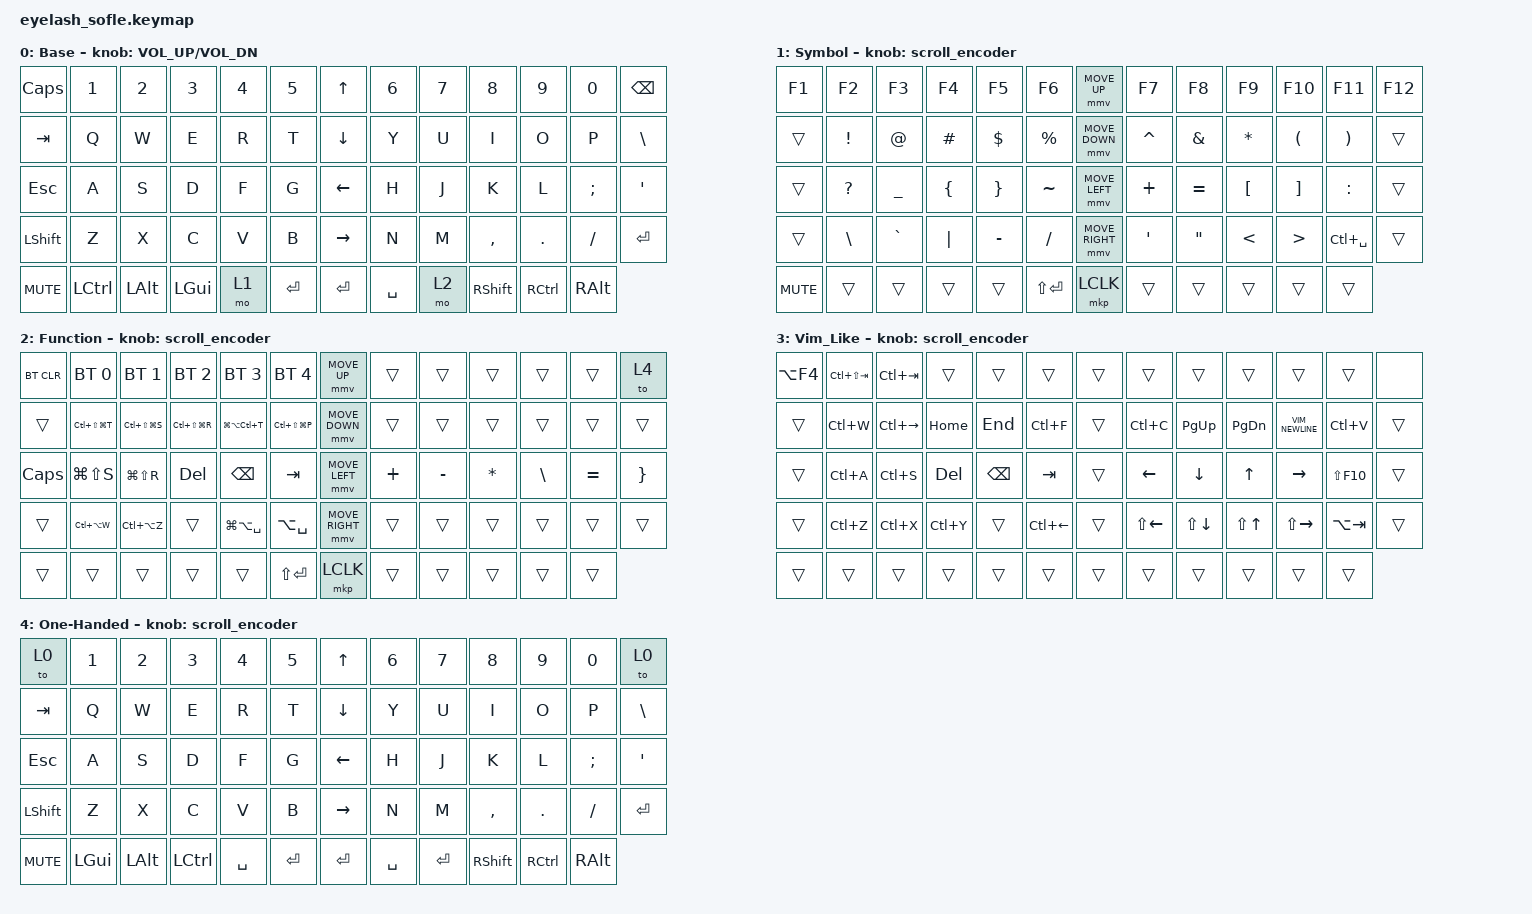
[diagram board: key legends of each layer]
#define ZMK_POINTING_DEFAULT_MOVE_VAL 1200  // 600
#define ZMK_POINTING_DEFAULT_SCRL_VAL 25   // 10

// 社交应用快捷键
#define QQ_SH     LG(LS(S))      // 截图
#define QQ_REC    LG(LS(R))      // 录屏
#define QQ_START  LC(LA(Z))      // 呼出 QQ
#define WX_START  LC(LA(W))      // 呼出微信

// PowerToys & 系统功能
#define PT_TOP    LG(LA(LC(T)))  // 窗口置顶
#define PT_OCR    LC(LS(LG(P)))  // 文本提取
#define PT_CROP   LC(LS(LG(R)))  // 裁剪窗口 (Crop and Lock)
#define PT_SNAP   LC(LS(LG(S)))  // 屏幕剪辑
#define PT_THUMB  LC(LS(LG(T)))  // 缩略图预览
#define PT_RUN    LA(SPACE)      // PowerToys Run
#define PT_CMD    LG(LA(SPACE))  // 命令面板

// 辅助功能
#define LANG_SW   LC(SPACE)      // 切换输入法

#include <input/processors.dtsi>
#include <zephyr/dt-bindings/input/input-event-codes.h>
#include <behaviors.dtsi>
#include <dt-bindings/zmk/bt.h>
#include <dt-bindings/zmk/keys.h>
#include <dt-bindings/zmk/outputs.h>
#include <dt-bindings/zmk/pointing.h>
#include <dt-bindings/zmk/rgb.h>

&mmv_input_listener { input-processors = <&zip_xy_scaler 2 1>; };

&msc_input_listener { input-processors = <&zip_scroll_scaler 2 1>; };

&msc {
    acceleration-exponent = <1>;      // 0
    time-to-max-speed-ms = <100>;       // 300
    delay-ms = <0>;                   // 0
};

&mmv {
    time-to-max-speed-ms = <500>;
    acceleration-exponent = <1>;
    trigger-period-ms = <16>;
};

&soft_off { hold-time-ms = <2000>; };

&kscan0 {
    wakeup-source;  // 关键：允许按键动作产生硬件中断来唤醒 MCU
};

/ {
    conditional_layers{
        compatible = "zmk,conditional-layers";
        tri_layer{
            if-layers = <1 2>;
            then-layer = <3>;
        };
    };

    scroll_encoder: scroll_encoder {
        compatible = "zmk,behavior-sensor-rotate";
        #sensor-binding-cells = <0>;
        bindings = <&msc SCRL_DOWN>, <&msc SCRL_UP>;

        tap-ms = <100>;
    };

    behaviors {
    };

    combos {
        compatible = "zmk,combos";

        softoff {
            bindings = <&soft_off>;
            key-positions = <14 28 40>;
        };
    };

    macros {
        SHIFT_MCLK: SHIFT_MCLK {
            compatible = "zmk,behavior-macro";
            #binding-cells = <0>;
            bindings =
                <&macro_press>,
                <&kp LEFT_SHIFT>,
                <&macro_press>,
                <&mkp MB3>,
                <&macro_pause_for_release>,
                <&macro_release>,
                <&kp LEFT_SHIFT &mkp MB3>;

            label = "SHIFT_MCLK";
        };

        VIM_NEWLINE: VIM_NEWLINE {
            compatible = "zmk,behavior-macro";
            #binding-cells = <0>;
            bindings =
                <&macro_tap>,
                <&kp END>,
                <&macro_wait_time 10>,
                <&kp LS(ENTER)>;

            label = "VIM_NEWLINE";
        };
    };

    keymap {
        compatible = "zmk,keymap";

        layer0 { // Base Layer
            bindings = <
&kp CAPS    &kp N1     &kp N2        &kp N3        &kp N4  &kp N5       &kp UP_ARROW     &kp N6     &kp N7     &kp N8       &kp N9         &kp N0      &kp BACKSPACE
&kp TAB     &kp Q      &kp W         &kp E         &kp R   &kp T        &kp DOWN_ARROW   &kp Y      &kp U      &kp I        &kp O          &kp P       &kp BSLH
&kp ESC     &kp A      &kp S         &kp D         &kp F   &kp G        &kp LEFT_ARROW   &kp H      &kp J      &kp K        &kp L          &kp SEMI    &kp APOS
&kp LSHFT   &kp Z      &kp X         &kp C         &kp V   &kp B        &kp RIGHT_ARROW  &kp N      &kp M      &kp COMMA    &kp DOT        &kp FSLH    &kp ENTER
&kp C_MUTE  &kp LCTRL   &kp LALT      &kp LGUI     &mo 1   &kp ENTER    &kp ENTER        &kp SPACE  &mo 2      &kp RSHIFT   &kp RCTRL      &kp RALT
            >;

            sensor-bindings = <&inc_dec_kp C_VOLUME_UP C_VOL_DN>;
            display-name = "Base";
        };

        layer_1 { // Symbol Layer
            bindings = <
&kp F1      &kp F2           &kp F3          &kp F4           &kp F5           &kp F6             &mmv MOVE_UP     &kp F7           &kp F8           &kp F9       &kp F10    &kp F11           &kp F12
&trans      &kp EXCL         &kp AT          &kp HASH         &kp DOLLAR       &kp PERCENT        &mmv MOVE_DOWN   &kp CARET        &kp AMPERSAND    &kp ASTERISK &kp LPAR   &kp RPAR          &trans
&trans      &kp QUESTION     &kp UNDER       &kp LBRC         &kp RBRC         &kp TILDE          &mmv MOVE_LEFT   &kp PLUS         &kp EQUAL        &kp LBKT     &kp RBKT   &kp COLON         &trans
&trans      &kp BACKSLASH    &kp GRAVE       &kp PIPE         &kp MINUS        &kp SLASH          &mmv MOVE_RIGHT  &kp SQT          &kp DQT          &kp LT       &kp GT     &kp LANG_SW       &trans
&kp C_MUTE  &trans           &trans          &trans           &trans           &kp LS(ENTER)      &mkp LCLK        &trans           &trans           &trans       &trans     &trans
            >;

            display-name = "Symbol";
            sensor-bindings = <&scroll_encoder>;
        };

        layer_2 { // Function Layer
            bindings = <
&bt BT_CLR &bt BT_SEL 0  &bt BT_SEL 1  &bt BT_SEL 2 &bt BT_SEL 3  &bt BT_SEL 4   &mmv MOVE_UP     &trans    &trans     &trans    &trans  &trans  &to 4
&trans     &kp PT_THUMB  &kp PT_SNAP   &kp PT_CROP  &kp PT_TOP    &kp PT_OCR     &mmv MOVE_DOWN  &trans    &trans     &trans    &trans      &trans       &trans
&kp CAPS   &kp QQ_SH     &kp QQ_REC    &kp DELETE   &kp BACKSPACE &kp TAB        &mmv MOVE_LEFT  &kp PLUS  &kp MINUS  &kp ASTERISK &kp BSLH &kp EQUAL    &kp RBRC
&trans     &kp WX_START  &kp QQ_START  &trans       &kp PT_CMD    &kp PT_RUN     &mmv MOVE_RIGHT &trans    &trans     &trans    &trans      &trans       &trans
&trans     &trans        &trans        &trans       &trans        &kp LS(ENTER)  &mkp LCLK       &trans    &trans     &trans    &trans      &trans
    >;

            display-name = "Function";
            sensor-bindings = <&scroll_encoder>;
        };

        layer_3 { // Vim_like Layer
            bindings = <                                                      // midline
&kp LA(F4)  &kp LC(LS(TAB))   &kp LC(TAB) &trans       &trans        &trans        &trans         &trans       &trans        &trans         &trans        &trans     &none
&trans      &kp LC(W)     &kp LC(RIGHT)   &kp HOME     &kp END       &kp LC(F)     &trans         &kp LC(C)    &kp PAGE_UP   &kp PAGE_DOWN  &VIM_NEWLINE  &kp LC(V)     &trans
&trans      &kp LC(A)     &kp LC(S)       &kp DELETE   &kp BACKSPACE &kp TAB       &trans         &kp LEFT     &kp DOWN      &kp UP         &kp RIGHT     &kp LS(F10)    &trans
&trans      &kp LC(Z)     &kp LC(X)       &kp LC(Y)    &trans        &kp LC(LEFT)  &trans         &kp LS(LEFT) &kp LS(DOWN)  &kp LS(UP)     &kp LS(RIGHT) &kp LA(TAB)     &trans
&trans      &trans        &trans          &trans       &trans        &trans        &trans         &trans       &trans        &trans         &trans        &trans   
            >;

            display-name = "Vim_Like";
            sensor-bindings = <&scroll_encoder>;
        };

        layer_4 {
            bindings = <
&to 0     &kp N1     &kp N2        &kp N3        &kp N4  &kp N5       &kp UP_ARROW     &kp N6     &kp N7     &kp N8       &kp N9         &kp N0      &to 0
&kp TAB     &kp Q      &kp W         &kp E         &kp R   &kp T        &kp DOWN_ARROW   &kp Y      &kp U      &kp I        &kp O          &kp P       &kp BSLH
&kp ESC     &kp A      &kp S         &kp D         &kp F   &kp G        &kp LEFT_ARROW   &kp H      &kp J      &kp K        &kp L          &kp SEMI    &kp APOS
&kp LSHFT   &kp Z      &kp X         &kp C         &kp V   &kp B        &kp RIGHT_ARROW  &kp N      &kp M      &kp COMMA    &kp DOT        &kp FSLH    &kp ENTER
&kp C_MUTE  &kp LGUI   &kp LALT      &kp LCTRL     &kp SPACE   &kp ENTER    &kp ENTER        &kp SPACE  &kp ENTER      &kp RSHIFT   &kp RCTRL      &kp RALT
            >;

            display-name = "One-Handed";
            sensor-bindings = <&scroll_encoder>;
        };
    };
};
